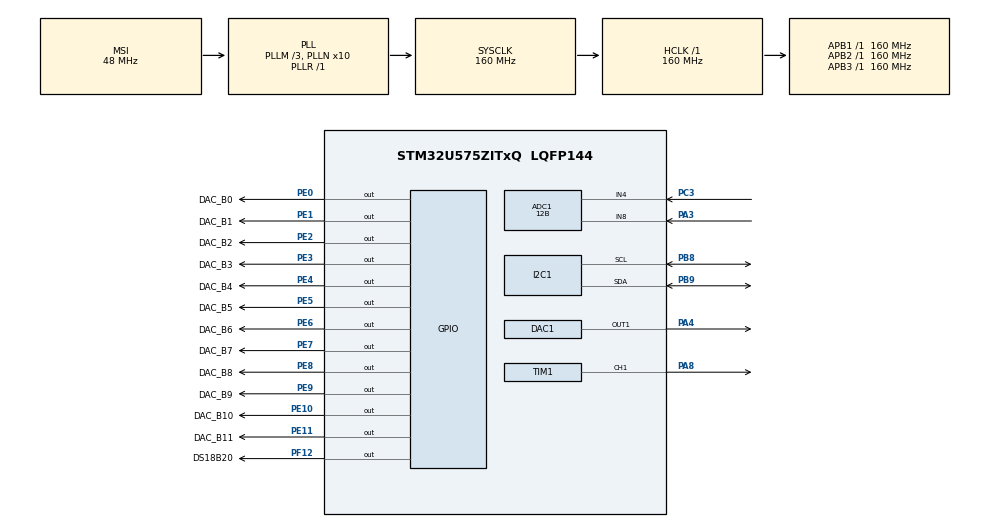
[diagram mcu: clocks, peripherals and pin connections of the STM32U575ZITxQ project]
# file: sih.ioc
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ADC1.Channel-0\#ChannelRegularConversion=ADC_CHANNEL_8
ADC1.Channel-1\#ChannelRegularConversion=ADC_CHANNEL_4
ADC1.EnableRegularConversion=ENABLE
ADC1.MonitoredBy-0\#ChannelRegularConversion=__NULL
ADC1.MonitoredBy-1\#ChannelRegularConversion=__NULL
ADC1.NbrOfConversion=2
ADC1.NbrOfConversionFlag=1
ADC1.OffsetNumber-0\#ChannelRegularConversion=ADC_OFFSET_NONE
ADC1.OffsetNumber-1\#ChannelRegularConversion=ADC_OFFSET_NONE
ADC1.Rank-0\#ChannelRegularConversion=1
ADC1.Rank-1\#ChannelRegularConversion=2
ADC1.Resolution=ADC_RESOLUTION_12B
ADC1.SamplingTime-0\#ChannelRegularConversion=ADC_SAMPLETIME_68CYCLES
ADC1.SamplingTime-1\#ChannelRegularConversion=ADC_SAMPLETIME_68CYCLES
ADC1.master=1
CORTEX_M33_NS.userName=CORTEX_M33
DAC1.DAC_Channel-DAC_OUT1=DAC_CHANNEL_1
DAC1.DAC_HighFrequency=DAC_HIGH_FREQUENCY_INTERFACE_MODE_ABOVE_80MHZ
DAC1.DAC_OutputBuffer_OUT1-DAC_OUT1=DAC_OUTPUTBUFFER_ENABLE
DAC1.DAC_Trigger-DAC_OUT1=DAC_TRIGGER_T6_TRGO
GPDMA1.DESTDATAWIDTH_GPDMACH0=DMA_DEST_DATAWIDTH_WORD
GPDMA1.DIRECTION_GPDMACH0=DMA_MEMORY_TO_PERIPH
GPDMA1.IPHANDLE_GPDMACH0-SIMPLEREQUEST_GPDMACH0=__NULL
GPDMA1.RECAP_GPDMACH0=DAC1_CH1 
GPDMA1.REQUEST_GPDMACH0=GPDMA1_REQUEST_DAC1_CH1
GPDMA1.SRCDATAWIDTH_GPDMACH0=DMA_SRC_DATAWIDTH_WORD
GPDMA1.SRCINC_GPDMACH0=DMA_SINC_INCREMENTED
I2C1.Timing=0x30909DEC
Mcu.Family=STM32U5
Mcu.Name=STM32U575ZITxQ
Mcu.Package=LQFP144
NUCLEO-U575ZI-Q.BUTTON=1
NUCLEO-U575ZI-Q.LD1=true
NUCLEO-U575ZI-Q.LD2=true
NUCLEO-U575ZI-Q.LD3=true
NUCLEO-U575ZI-Q.VCP=true
NVIC.EXTI13_IRQn=true\:0\:0\:false\:false\:true\:false\:true\:true
NVIC.GPDMA1_Channel0_IRQn=true\:0\:0\:false\:false\:true\:true\:true\:true
NVIC.PriorityGroup=NVIC_PRIORITYGROUP_3
NVIC.TIM17_IRQn=true\:7\:0\:false\:false\:true\:false\:true\:true
NVIC.TimeBase=TIM17_IRQn
NVIC.TimeBaseIP=TIM17
PA10.Signal=USART1_RX
PA13\ (JTMS/SWDIO).Signal=DEBUG_JTMS-SWDIO
PA14\ (JTCK/SWCLK).Signal=DEBUG_JTCK-SWCLK
PA3.Mode=IN8-Single-Ended
PA3.Signal=ADC1_IN8
PA4.Signal=COMP_DAC11_group
PA8.GPIO_Speed=GPIO_SPEED_FREQ_VERY_HIGH
PA8.Signal=S_TIM1_CH1
PA9.Signal=USART1_TX
PB3\ (JTDO/TRACESWO).Signal=DEBUG_JTDO-SWO
PB8.Mode=I2C
PB8.Signal=I2C1_SCL
PB9.Mode=I2C
PB9.Signal=I2C1_SDA
PC14-OSC32_IN\ (PC14).Signal=RCC_OSC32_IN
PC15-OSC32_OUT\ (PC15).Signal=RCC_OSC32_OUT
PC3.Mode=IN4-Single-Ended
PC3.Signal=ADC1_IN4
PE0.GPIO_Label=DAC_B0
PE0.GPIO_Speed=GPIO_SPEED_FREQ_VERY_HIGH
PE0.PinState=GPIO_PIN_RESET
PE0.Signal=GPIO_Output
PE1.GPIO_Label=DAC_B1
PE1.GPIO_Speed=GPIO_SPEED_FREQ_VERY_HIGH
PE1.PinState=GPIO_PIN_RESET
PE1.Signal=GPIO_Output
PE10.GPIO_Label=DAC_B10
PE10.GPIO_Speed=GPIO_SPEED_FREQ_VERY_HIGH
PE10.Signal=GPIO_Output
PE11.GPIO_Label=DAC_B11
PE11.GPIO_Speed=GPIO_SPEED_FREQ_VERY_HIGH
PE11.Signal=GPIO_Output
PE2.GPIO_Label=DAC_B2
PE2.GPIO_Speed=GPIO_SPEED_FREQ_VERY_HIGH
PE2.PinState=GPIO_PIN_RESET
PE2.Signal=GPIO_Output
PE3.GPIO_Label=DAC_B3
PE3.GPIO_Speed=GPIO_SPEED_FREQ_VERY_HIGH
PE3.PinState=GPIO_PIN_RESET
PE3.Signal=GPIO_Output
PE4.GPIO_Label=DAC_B4
PE4.GPIO_Speed=GPIO_SPEED_FREQ_VERY_HIGH
PE4.PinState=GPIO_PIN_RESET
PE4.Signal=GPIO_Output
PE5.GPIO_Label=DAC_B5
PE5.GPIO_Speed=GPIO_SPEED_FREQ_VERY_HIGH
PE5.PinState=GPIO_PIN_RESET
PE5.Signal=GPIO_Output
PE6.GPIO_Label=DAC_B6
PE6.GPIO_Speed=GPIO_SPEED_FREQ_VERY_HIGH
PE6.Signal=GPIO_Output
PE7.GPIO_Label=DAC_B7
PE7.GPIO_Speed=GPIO_SPEED_FREQ_VERY_HIGH
PE7.Signal=GPIO_Output
PE8.GPIO_Label=DAC_B8
PE8.GPIO_Speed=GPIO_SPEED_FREQ_VERY_HIGH
PE8.Signal=GPIO_Output
PE9.GPIO_Label=DAC_B9
PE9.GPIO_Speed=GPIO_SPEED_FREQ_VERY_HIGH
PE9.Signal=GPIO_Output
PF12.GPIO_Label=DS18B20
PF12.GPIO_ModeDefaultOutputPP=GPIO_MODE_OUTPUT_OD
PF12.GPIO_PuPd=GPIO_NOPULL
PF12.PinState=GPIO_PIN_SET
PF12.Signal=GPIO_Output
PWR.PowerMode=PWR_SMPS_SUPPLY
ProjectManager.HeapSize=0x200
ProjectManager.StackSize=0x400
ProjectManager.TargetToolchain=STM32CubeIDE
RCC.ADCFreq_Value=16000000
RCC.AHBFreq_Value=160000000
RCC.APB1Freq_Value=160000000
RCC.APB1TimFreq_Value=160000000
RCC.APB2Freq_Value=160000000
RCC.APB2TimFreq_Value=160000000
RCC.APB3Freq_Value=160000000
RCC.CortexFreq_Value=160000000
RCC.DACCLockSelectionVirtual=RCC_DAC1CLKSOURCE_LSI
RCC.EPOD_VALUE=48000000
RCC.HCLKFreq_Value=160000000
RCC.HSE_VALUE=16000000
RCC.HSI48_VALUE=48000000
RCC.HSI_VALUE=16000000
RCC.LSE_VALUE=32768
RCC.LSIDIV_VALUE=32000
RCC.MSIClockRange=RCC_MSIRANGE_0
RCC.MSI_VALUE=48000000
RCC.PLL1R=1
RCC.PLLFRACN=0
RCC.PLLM=3
RCC.PLLN=10
RCC.SYSCLKFreq_VALUE=160000000
RCC.SYSCLKSource=RCC_SYSCLKSOURCE_PLLCLK
RCC.USBFreq_Value=48000000
RCC.VCOOutputFreq_Value=160000000
SH.COMP_DAC11_group.0=DAC1_OUT1,DAC_OUT1
SH.S_TIM1_CH1.0=TIM1_CH1,PWM Generation1 CH1
TIM1.Channel-PWM\ Generation1\ CH1=TIM_CHANNEL_1
TIM1.PeriodNoDither=159
TIM1.PulseNoDither_1=80
TIM6.PeriodNoDither=159
TIM6.TIM_MasterOutputTrigger=TIM_TRGO_UPDATE
VP_GPDMA1_VS_GPDMACH0.Mode=SIMPLEREQUEST_GPDMACH0
VP_ICACHE_VS_ENABLE_ICACHE_MEMORY.Mode=Memoryregions
VP_ICACHE_VS_ICACHE.Mode=DirectMappedCache
VP_LPBAMQUEUE_VS_QUEUE.Mode=QUEUEMODE
VP_LPBAM_VS_SIG1.Mode=SmartRun
VP_LPBAM_VS_SIG4.Mode=LPDMA1
VP_MEMORYMAP_VS_MEMORYMAP.Mode=CurAppReg
VP_NUCLEO-U575ZI-Q_VS_BSP_COMMON.Mode=COMMON
VP_PWR_VS_DBSignals.Mode=DisableDeadBatterySignals
VP_PWR_VS_LPOM.Mode=PowerOptimisation
VP_PWR_VS_SECSignals.Mode=Security/Privilege
VP_PWR_Vdda.Mode=isolationVdda
VP_SYS_VS_tim17.Mode=TIM17
VP_TIM1_VS_ClockSourceINT.Mode=Internal
VP_TIM6_VS_ClockSourceINT.Mode=Enable_Timer
board=NUCLEO-U575ZI-Q

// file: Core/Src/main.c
/* USER CODE BEGIN Header */
/**
  ******************************************************************************
  * @file           : main.c
  * @brief          : Main program body
  ******************************************************************************
  * @attention
  *
  * Copyright (c) 2026 STMicroelectronics.
  * All rights reserved.
  *
  * This software is licensed under terms that can be found in the LICENSE file
  * in the root directory of this software component.
  * If no LICENSE file comes with this software, it is provided AS-IS.
  *
  ******************************************************************************
  */
/* USER CODE END Header */
#include "main.h"

/* USER CODE BEGIN Includes */
#include <math.h>
#include <stdio.h>
#include <stdlib.h>
/* USER CODE END Includes */

COM_InitTypeDef BspCOMInit;
ADC_HandleTypeDef hadc1;

DAC_HandleTypeDef hdac1;
DMA_HandleTypeDef handle_GPDMA1_Channel0;

I2C_HandleTypeDef hi2c1;

TIM_HandleTypeDef htim1;
TIM_HandleTypeDef htim6;

/* USER CODE BEGIN PV */
#define N          16000            // max pulse: 16 ms at 1 MSps
#define INA_ADDR   (0x40 << 1)      // INA219 I2C address
#define R_SHUNT    0.1f             // INA219 shunt (ohms)
#define BUDGET_mAh 2.0f             // demo battery budget
#define R_MAX_m    100.0f           // max sonar range -> listening window
#define USE_DIAL   1                // 1 = potentiometer scenario dial, 0 = real turbidity sensor
static uint32_t wave[N];
volatile uint8_t ping_done = 1;
volatile uint8_t mode = 0;          // 0-2 audible (LFM, GEO, BPSK), 3-5 ultrasonic (LFM, GEO, BPSK)
uint32_t turbidity = 0, tds = 0;
float temp_c = 25.0f;
float i_mA = 0.0f, v_bus = 0.0f, used_mAh = 0.0f;
uint8_t ina_ok = 0;
/* USER CODE END PV */

void SystemClock_Config(void);
static void SystemPower_Config(void);
static void MX_GPIO_Init(void);
static void MX_GPDMA1_Init(void);
static void MX_TIM1_Init(void);
static void MX_DAC1_Init(void);
static void MX_ICACHE_Init(void);
static void MX_TIM6_Init(void);
static void MX_ADC1_Init(void);
static void MX_I2C1_Init(void);

/* USER CODE BEGIN 0 */
/* ================= waveform engine ================= */
static float sample_rate(void)
{
  return 160000000.0f / (float)(TIM6->ARR + 1);
}

static float window(int i, int n, int tukey)            // Hann, or Tukey(0.2) for phase-coded
{
  if (!tukey) return 0.5f * (1.0f - cosf(2.0f * 3.14159265f * i / (n - 1)));
  float taper = 0.1f * (n - 1);
  if (i < taper)         return 0.5f * (1.0f - cosf(3.14159265f * i / taper));
  if (i > n - 1 - taper) return 0.5f * (1.0f - cosf(3.14159265f * (n - 1 - i) / taper));
  return 1.0f;
}

static void build_wave(int mod, float f0, float f1, float amp, uint32_t n)
{
  static const int8_t barker13[13] = { 1,1,1,1,1,-1,-1,1,1,-1,1,-1,1 };
  float fs = sample_rate(), T = n / fs;
  float lnK = logf(f1 / f0), fc = 0.5f * (f0 + f1);
  for (uint32_t i = 0; i < n; i++)
  {
    float t = i / fs, s, w;
    if (mod == 0)        // LFM chirp: frequency rises linearly
    { s = sinf(2.0f * 3.14159265f * (f0 * t + 0.5f * (f1 - f0) / T * t * t)); w = window(i, n, 0); }
    else if (mod == 1)   // geometric sweep: frequency rises by a constant ratio
    { s = sinf(2.0f * 3.14159265f * f0 * T / lnK * (expf(lnK * t / T) - 1.0f)); w = window(i, n, 0); }
    else                 // phase-coded: Barker-13 BPSK on the centre frequency
    { s = barker13[(i * 13) / n] * sinf(2.0f * 3.14159265f * fc * t); w = window(i, n, 1); }
    wave[i] = (uint32_t)(2048.0f + amp * w * s);
  }
}

static void fire_ping(uint32_t n)
{
  ping_done = 0;
  HAL_DAC_Start_DMA(&hdac1, DAC_CHANNEL_1, (uint32_t *)wave, n, DAC_ALIGN_12B_R);
}

/* ================= turbidity + TDS ================= */
static void read_sensors(void)
{
  HAL_ADC_Start(&hadc1);
  HAL_ADC_PollForConversion(&hadc1, 10);  turbidity = HAL_ADC_GetValue(&hadc1);
  HAL_ADC_PollForConversion(&hadc1, 10);  tds       = HAL_ADC_GetValue(&hadc1);
  HAL_ADC_Stop(&hadc1);
}

static float tds_ppm(uint32_t raw)
{
  float v = raw * 3.3f / 4095.0f;
  return (133.42f * v * v * v - 255.86f * v * v + 857.39f * v) * 0.5f;
}

static float sound_speed(float T, float S_ppt)          // speed of sound in water (m/s)
{
  return 1449.2f + 4.6f * T - 0.055f * T * T + 0.00029f * T * T * T
         + (1.34f - 0.01f * T) * (S_ppt - 35.0f);
}

/* ================= microsecond delay ================= */
static void dwt_init(void)
{
#ifdef DCB
  DCB->DEMCR |= DCB_DEMCR_TRCENA_Msk;
#else
  CoreDebug->DEMCR |= CoreDebug_DEMCR_TRCENA_Msk;
#endif
  DWT->CYCCNT = 0;
  DWT->CTRL  |= DWT_CTRL_CYCCNTENA_Msk;
}

static void delay_us(uint32_t us)
{
  uint32_t start = DWT->CYCCNT, ticks = us * (SystemCoreClock / 1000000U);
  while ((DWT->CYCCNT - start) < ticks) { }
}

/* ================= DS18B20 (1-Wire on PF12) ================= */
static inline void ow_low(void)     { DS18B20_GPIO_Port->BRR  = DS18B20_Pin; }
static inline void ow_release(void) { DS18B20_GPIO_Port->BSRR = DS18B20_Pin; }
static inline int  ow_level(void)   { return (DS18B20_GPIO_Port->IDR & DS18B20_Pin) ? 1 : 0; }

static int ow_reset(void)
{
  ow_low();     delay_us(480);
  ow_release(); delay_us(70);
  int present = !ow_level();
  delay_us(410);
  return present;
}

static void ow_write_bit(int b)
{
  __disable_irq();
  ow_low();
  if (b) { delay_us(6);  ow_release(); delay_us(64); }
  else   { delay_us(60); ow_release(); delay_us(10); }
  __enable_irq();
}

static int ow_read_bit(void)
{
  __disable_irq();
  ow_low(); delay_us(6);
  ow_release(); delay_us(9);
  int b = ow_level();
  delay_us(55);
  __enable_irq();
  return b;
}

static void ow_write_byte(uint8_t v) { for (int i = 0; i < 8; i++) { ow_write_bit(v & 1); v >>= 1; } }
static uint8_t ow_read_byte(void)    { uint8_t v = 0; for (int i = 0; i < 8; i++) v |= ow_read_bit() << i; return v; }

static void ds_start(void)
{
  if (ow_reset()) { ow_write_byte(0xCC); ow_write_byte(0x44); }
}

static int ds_read(float *t)
{
  if (!ow_reset()) return 0;
  ow_write_byte(0xCC); ow_write_byte(0xBE);
  uint8_t lo = ow_read_byte(), hi = ow_read_byte();
  *t = (int16_t)((hi << 8) | lo) / 16.0f;
  return 1;
}

/* ================= INA219 (I2C1) ================= */
static int ina_init(void)
{
  uint8_t cfg[2] = { 0x01, 0xFF };   // 16 V, +/-40 mV shunt, 12-bit, 128-sample average
  return HAL_I2C_Mem_Write(&hi2c1, INA_ADDR, 0x00, I2C_MEMADD_SIZE_8BIT, cfg, 2, 10) == HAL_OK;
}

static int ina_read(float *mA, float *V)
{
  uint8_t b[2];
  if (HAL_I2C_Mem_Read(&hi2c1, INA_ADDR, 0x01, I2C_MEMADD_SIZE_8BIT, b, 2, 10) != HAL_OK) return 0;
  *mA = fabsf((int16_t)((b[0] << 8) | b[1]) * 0.01f / R_SHUNT);
  if (HAL_I2C_Mem_Read(&hi2c1, INA_ADDR, 0x02, I2C_MEMADD_SIZE_8BIT, b, 2, 10) != HAL_OK) return 0;
  *V = (((b[0] << 8) | b[1]) >> 3) * 0.004f;
  return 1;
}
/* USER CODE END 0 */

int main(void)
{

  /* MCU Configuration--------------------------------------------------------*/

  /* Reset of all peripherals, Initializes the Flash interface and the Systick. */
  HAL_Init();

  /* Configure the System Power */
  SystemPower_Config();

  /* Configure the system clock */
  SystemClock_Config();

  /* Initialize all configured peripherals */
  MX_GPIO_Init();
  MX_GPDMA1_Init();
  MX_TIM1_Init();
  MX_DAC1_Init();
  MX_ICACHE_Init();
  MX_TIM6_Init();
  MX_ADC1_Init();
  MX_I2C1_Init();
  /* USER CODE BEGIN 2 */
  HAL_ADCEx_Calibration_Start(&hadc1, ADC_CALIB_OFFSET, ADC_SINGLE_ENDED);
  HAL_TIM_Base_Start(&htim6);                                        // 1 MSps trigger
  HAL_DAC_Start(&hdac1, DAC_CHANNEL_1);
  HAL_DAC_SetValue(&hdac1, DAC_CHANNEL_1, DAC_ALIGN_12B_R, 2048);    // idle at mid-scale
  dwt_init();
  ina_ok = ina_init();
  ds_start();
  /* USER CODE END 2 */

  /* Initialize leds */
  BSP_LED_Init(LED_GREEN);
  BSP_LED_Init(LED_BLUE);
  BSP_LED_Init(LED_RED);

  /* Initialize USER push-button, will be used to trigger an interrupt each time it's pressed.*/
  BSP_PB_Init(BUTTON_USER, BUTTON_MODE_EXTI);

  /* Initialize COM1 port (115200, 8 bits (7-bit data + 1 stop bit), no parity */
  BspCOMInit.BaudRate   = 115200;
  BspCOMInit.WordLength = COM_WORDLENGTH_8B;
  BspCOMInit.StopBits   = COM_STOPBITS_1;
  BspCOMInit.Parity     = COM_PARITY_NONE;
  BspCOMInit.HwFlowCtl  = COM_HWCONTROL_NONE;
  if (BSP_COM_Init(COM1, &BspCOMInit) != BSP_ERROR_NONE)
  {
    Error_Handler();
  }

  /* Infinite loop */
  while (1)
  {

	    /* USER CODE BEGIN 3 */
	    static const char *mod_name[3] = { "LFM ", "GEO ", "BPSK" };
	    static uint32_t t_avg = 0, d_avg = 0, ds_tick = 0, last_tick = 0;
	    GPIOE->BSRR = GPIO_PIN_0;                    // CPU-busy pin PE0 HIGH = CPU working
	    uint32_t now = HAL_GetTick();

	    /* ---- sensors ---- */
	    read_sensors();
	    t_avg = (t_avg * 3 + turbidity) / 4;
	    d_avg = (d_avg * 3 + tds) / 4;
	    if (now - ds_tick >= 800)
	    {
	      float t;
	      if (ds_read(&t) && t > -40.0f && t < 85.0f) temp_c = t;
	      ds_start();  ds_tick = now;
	    }

	    /* ---- turbidity calibration ---- */
	#if USE_DIAL
	    const float T_MUDDY = 200.0f;                // potentiometer: knob fully one way
	    const float T_CLEAR = 3900.0f;               // potentiometer: knob fully the other way
	#else
	    const float T_MUDDY = 750.0f;                // stirred muddy water (submerged)
	    static float T_CLEAR = 1150.0f;              // replaced by auto-calibration below
	    static float cal_sum = 0.0f;
	    static int   cal_n   = 0;
	    if (cal_n < 8)                               // first ~2 s after RESET: learn "clear water"
	    {
	      cal_sum += turbidity;
	      cal_n++;
	      if (cal_n == 8)
	      {
	        T_CLEAR = (cal_sum / 8.0f) * 0.95f;      // 5% margin below the clear reading
	        if (T_CLEAR < T_MUDDY + 150.0f) T_CLEAR = T_MUDDY + 150.0f;   // safety
	      }
	    }
	#endif

	    /* ---- power + battery budget ---- */
	    if (ina_ok) ina_read(&i_mA, &v_bus);
	    uint32_t dt = now - last_tick;  last_tick = now;
	    if (dt < 5000) used_mAh += i_mA * dt / 3600000.0f;
	    float remain = 1.0f - used_mAh / BUDGET_mAh;  if (remain < 0.0f) remain = 0.0f;
	    float e_mJ = i_mA * v_bus * dt / 1000.0f;
	    float factor = 1.0f, amp_scale = 1.0f, dur_scale = 1.0f;  const char *pw = "NORMAL ";
	    if      (remain < 0.2f) { factor = 4.0f; amp_scale = 0.6f; dur_scale = 0.5f;  pw = "SURVIVE"; }
	    else if (remain < 0.5f) { factor = 2.0f; amp_scale = 0.8f; dur_scale = 0.75f; pw = "ECONOMY"; }

	    /* ---- water physics ---- */
	    float ppm = tds_ppm(d_avg);
	    float c = sound_speed(temp_c, ppm / 1000.0f);
	    float listen_ms = 2.0f * R_MAX_m / c * 1000.0f;

	    /* ---- adaptation of the 3 wave parameters ---- */
	    int band = mode / 3, mod = mode % 3;
	    float t_norm = (t_avg - T_MUDDY) / (T_CLEAR - T_MUDDY);    // 0 = muddy, 1 = clear
	    if (t_norm < 0.0f) t_norm = 0.0f;
	    if (t_norm > 1.0f) t_norm = 1.0f;

	    float f0, f_hi;                                             // 1) BANDWIDTH / CENTRE FREQ
	    if (band == 0) { f0 = 2000.0f;   f_hi = 5000.0f   + t_norm * 12000.0f;  }   // 5-17 kHz
	    else           { f0 = 100000.0f; f_hi = 120000.0f + t_norm * 130000.0f; }   // 120-250 kHz
	    float f_max = 0.25f * sample_rate();  if (f_hi > f_max) f_hi = f_max;

	    float dur_ms = (4.0f + (1.0f - t_norm) * 12.0f) * dur_scale;               // 2) PULSE DURATION
	    uint32_t n = (uint32_t)(dur_ms * sample_rate() / 1000.0f);  if (n > N) n = N;

	    float amp = 1200.0f + d_avg * 0.2f;                                         // 3) AMPLITUDE
	    if (amp > 1800.0f) amp = 1800.0f;
	    amp *= amp_scale;

	    build_wave(mod, f0, f_hi, amp, n);

	    /* ---- report ---- */
	    char msg[240];
	    int len = snprintf(msg, sizeof msg,
	      "%s-%s T=%d.%dC c=%lu clarity=%lu (clear=%lu) tds=%luppm f=%lu-%luHz dur=%lums amp=%lu | I=%lu.%02lumA E=%lu.%lumJ batt=%lu%% %s\r\n",
	      band ? "US " : "AUD", mod_name[mod], (int)temp_c, abs((int)(temp_c * 10)) % 10, (uint32_t)c,
	      t_avg, (uint32_t)T_CLEAR, (uint32_t)ppm, (uint32_t)f0, (uint32_t)f_hi, (uint32_t)dur_ms, (uint32_t)amp,
	      (uint32_t)i_mA, (uint32_t)(i_mA * 100) % 100, (uint32_t)e_mJ, (uint32_t)(e_mJ * 10) % 10,
	      (uint32_t)(remain * 100), pw);
	    HAL_UART_Transmit(&hcom_uart[COM1], (uint8_t *)msg, len, 50);

	    /* ---- transmit: DMA streams the ping, CPU sleeps ---- */
	    fire_ping(n);
	    BSP_LED_Toggle(LED_GREEN);
	    uint32_t t0 = HAL_GetTick();
	    GPIOE->BRR = GPIO_PIN_0;                     // CPU-busy pin LOW = CPU asleep
	    while (!ping_done && (HAL_GetTick() - t0) < 1000) { __WFI(); }
	    GPIOE->BSRR = GPIO_PIN_0;
	    if (!ping_done) BSP_LED_On(LED_RED);

	    HAL_DAC_Stop_DMA(&hdac1, DAC_CHANNEL_1);
	    HAL_DAC_Start(&hdac1, DAC_CHANNEL_1);
	    HAL_DAC_SetValue(&hdac1, DAC_CHANNEL_1, DAC_ALIGN_12B_R, 2048);   // park at mid-scale

	    /* ---- listen window (longer when the battery budget is low) ---- */
	    GPIOE->BRR = GPIO_PIN_0;
	    HAL_Delay((uint32_t)(listen_ms * factor));
	  }
	  /* USER CODE END 3 */
}

void SystemClock_Config(void)
{
  RCC_OscInitTypeDef RCC_OscInitStruct = {0};
  RCC_ClkInitTypeDef RCC_ClkInitStruct = {0};

  /** Configure the main internal regulator output voltage
  */
  if (HAL_PWREx_ControlVoltageScaling(PWR_REGULATOR_VOLTAGE_SCALE1) != HAL_OK)
  {
    Error_Handler();
  }

  /** Initializes the CPU, AHB and APB buses clocks
  */
  RCC_OscInitStruct.OscillatorType = RCC_OSCILLATORTYPE_HSI|RCC_OSCILLATORTYPE_LSI
                              |RCC_OSCILLATORTYPE_MSI;
  RCC_OscInitStruct.HSIState = RCC_HSI_ON;
  RCC_OscInitStruct.HSICalibrationValue = RCC_HSICALIBRATION_DEFAULT;
  RCC_OscInitStruct.LSIState = RCC_LSI_ON;
  RCC_OscInitStruct.MSIState = RCC_MSI_ON;
  RCC_OscInitStruct.MSICalibrationValue = RCC_MSICALIBRATION_DEFAULT;
  RCC_OscInitStruct.MSIClockRange = RCC_MSIRANGE_0;
  RCC_OscInitStruct.LSIDiv = RCC_LSI_DIV1;
  RCC_OscInitStruct.PLL.PLLState = RCC_PLL_ON;
  RCC_OscInitStruct.PLL.PLLSource = RCC_PLLSOURCE_MSI;
  RCC_OscInitStruct.PLL.PLLMBOOST = RCC_PLLMBOOST_DIV4;
  RCC_OscInitStruct.PLL.PLLM = 3;
  RCC_OscInitStruct.PLL.PLLN = 10;
  RCC_OscInitStruct.PLL.PLLP = 2;
  RCC_OscInitStruct.PLL.PLLQ = 2;
  RCC_OscInitStruct.PLL.PLLR = 1;
  RCC_OscInitStruct.PLL.PLLRGE = RCC_PLLVCIRANGE_1;
  RCC_OscInitStruct.PLL.PLLFRACN = 0;
  if (HAL_RCC_OscConfig(&RCC_OscInitStruct) != HAL_OK)
  {
    Error_Handler();
  }

  /** Initializes the CPU, AHB and APB buses clocks
  */
  RCC_ClkInitStruct.ClockType = RCC_CLOCKTYPE_HCLK|RCC_CLOCKTYPE_SYSCLK
                              |RCC_CLOCKTYPE_PCLK1|RCC_CLOCKTYPE_PCLK2
                              |RCC_CLOCKTYPE_PCLK3;
  RCC_ClkInitStruct.SYSCLKSource = RCC_SYSCLKSOURCE_PLLCLK;
  RCC_ClkInitStruct.AHBCLKDivider = RCC_SYSCLK_DIV1;
  RCC_ClkInitStruct.APB1CLKDivider = RCC_HCLK_DIV1;
  RCC_ClkInitStruct.APB2CLKDivider = RCC_HCLK_DIV1;
  RCC_ClkInitStruct.APB3CLKDivider = RCC_HCLK_DIV1;

  if (HAL_RCC_ClockConfig(&RCC_ClkInitStruct, FLASH_LATENCY_4) != HAL_OK)
  {
    Error_Handler();
  }
}

/**
  * @brief Power Configuration
  * @retval None
  */
static void SystemPower_Config(void)
{

  /*
   * Disable the internal Pull-Up in Dead Battery pins of UCPD peripheral
   */
  HAL_PWREx_DisableUCPDDeadBattery();

  /*
   * Switch to SMPS regulator instead of LDO
   */
  if (HAL_PWREx_ConfigSupply(PWR_SMPS_SUPPLY) != HAL_OK)
  {
    Error_Handler();
  }
}

static void MX_ADC1_Init(void)
{

  ADC_ChannelConfTypeDef sConfig = {0};

  /** Common config
  */
  hadc1.Instance = ADC1;
  hadc1.Init.ClockPrescaler = ADC_CLOCK_ASYNC_DIV1;
  hadc1.Init.Resolution = ADC_RESOLUTION_12B;
  hadc1.Init.GainCompensation = 0;
  hadc1.Init.ScanConvMode = ADC_SCAN_ENABLE;
  hadc1.Init.EOCSelection = ADC_EOC_SINGLE_CONV;
  hadc1.Init.LowPowerAutoWait = DISABLE;
  hadc1.Init.ContinuousConvMode = DISABLE;
  hadc1.Init.NbrOfConversion = 2;
  hadc1.Init.DiscontinuousConvMode = DISABLE;
  hadc1.Init.ExternalTrigConv = ADC_SOFTWARE_START;
  hadc1.Init.ExternalTrigConvEdge = ADC_EXTERNALTRIGCONVEDGE_NONE;
  hadc1.Init.DMAContinuousRequests = DISABLE;
  hadc1.Init.TriggerFrequencyMode = ADC_TRIGGER_FREQ_HIGH;
  hadc1.Init.Overrun = ADC_OVR_DATA_PRESERVED;
  hadc1.Init.LeftBitShift = ADC_LEFTBITSHIFT_NONE;
  hadc1.Init.ConversionDataManagement = ADC_CONVERSIONDATA_DR;
  hadc1.Init.OversamplingMode = DISABLE;
  if (HAL_ADC_Init(&hadc1) != HAL_OK)
  {
    Error_Handler();
  }

  /** Configure Regular Channel
  */
  sConfig.Channel = ADC_CHANNEL_8;
  sConfig.Rank = ADC_REGULAR_RANK_1;
  sConfig.SamplingTime = ADC_SAMPLETIME_68CYCLES;
  sConfig.SingleDiff = ADC_SINGLE_ENDED;
  sConfig.OffsetNumber = ADC_OFFSET_NONE;
  sConfig.Offset = 0;
  if (HAL_ADC_ConfigChannel(&hadc1, &sConfig) != HAL_OK)
  {
    Error_Handler();
  }

  /** Configure Regular Channel
  */
  sConfig.Channel = ADC_CHANNEL_4;
  sConfig.Rank = ADC_REGULAR_RANK_2;
  if (HAL_ADC_ConfigChannel(&hadc1, &sConfig) != HAL_OK)
  {
    Error_Handler();
  }

}

static void MX_DAC1_Init(void)
{

  DAC_ChannelConfTypeDef sConfig = {0};
  DAC_AutonomousModeConfTypeDef sAutonomousMode = {0};

  /** DAC Initialization
  */
  hdac1.Instance = DAC1;
  if (HAL_DAC_Init(&hdac1) != HAL_OK)
  {
    Error_Handler();
  }

  /** DAC channel OUT1 config
  */
  sConfig.DAC_HighFrequency = DAC_HIGH_FREQUENCY_INTERFACE_MODE_ABOVE_80MHZ;
  sConfig.DAC_DMADoubleDataMode = DISABLE;
  sConfig.DAC_SignedFormat = DISABLE;
  sConfig.DAC_SampleAndHold = DAC_SAMPLEANDHOLD_DISABLE;
  sConfig.DAC_Trigger = DAC_TRIGGER_T6_TRGO;
  sConfig.DAC_OutputBuffer = DAC_OUTPUTBUFFER_ENABLE;
  sConfig.DAC_ConnectOnChipPeripheral = DAC_CHIPCONNECT_EXTERNAL;
  sConfig.DAC_UserTrimming = DAC_TRIMMING_FACTORY;
  if (HAL_DAC_ConfigChannel(&hdac1, &sConfig, DAC_CHANNEL_1) != HAL_OK)
  {
    Error_Handler();
  }

  /** Configure Autonomous Mode
  */
  sAutonomousMode.AutonomousModeState = DAC_AUTONOMOUS_MODE_DISABLE;
  if (HAL_DACEx_SetConfigAutonomousMode(&hdac1, &sAutonomousMode) != HAL_OK)
  {
    Error_Handler();
  }

}

static void MX_GPDMA1_Init(void)
{

  /* Peripheral clock enable */
  __HAL_RCC_GPDMA1_CLK_ENABLE();

  /* GPDMA1 interrupt Init */
    HAL_NVIC_SetPriority(GPDMA1_Channel0_IRQn, 0, 0);
    HAL_NVIC_EnableIRQ(GPDMA1_Channel0_IRQn);

}

static void MX_I2C1_Init(void)
{

  hi2c1.Instance = I2C1;
  hi2c1.Init.Timing = 0x30909DEC;
  hi2c1.Init.OwnAddress1 = 0;
  hi2c1.Init.AddressingMode = I2C_ADDRESSINGMODE_7BIT;
  hi2c1.Init.DualAddressMode = I2C_DUALADDRESS_DISABLE;
  hi2c1.Init.OwnAddress2 = 0;
  hi2c1.Init.OwnAddress2Masks = I2C_OA2_NOMASK;
  hi2c1.Init.GeneralCallMode = I2C_GENERALCALL_DISABLE;
  hi2c1.Init.NoStretchMode = I2C_NOSTRETCH_DISABLE;
  if (HAL_I2C_Init(&hi2c1) != HAL_OK)
  {
    Error_Handler();
  }

  /** Configure Analogue filter
  */
  if (HAL_I2CEx_ConfigAnalogFilter(&hi2c1, I2C_ANALOGFILTER_ENABLE) != HAL_OK)
  {
    Error_Handler();
  }

  /** Configure Digital filter
  */
  if (HAL_I2CEx_ConfigDigitalFilter(&hi2c1, 0) != HAL_OK)
  {
    Error_Handler();
  }

}

static void MX_ICACHE_Init(void)
{

  /** Enable instruction cache in 1-way (direct mapped cache)
  */
  if (HAL_ICACHE_ConfigAssociativityMode(ICACHE_1WAY) != HAL_OK)
  {
    Error_Handler();
  }
  if (HAL_ICACHE_Enable() != HAL_OK)
  {
    Error_Handler();
  }

}

static void MX_TIM1_Init(void)
{

  TIM_ClockConfigTypeDef sClockSourceConfig = {0};
  TIM_MasterConfigTypeDef sMasterConfig = {0};
  TIM_OC_InitTypeDef sConfigOC = {0};
  TIM_BreakDeadTimeConfigTypeDef sBreakDeadTimeConfig = {0};

  htim1.Instance = TIM1;
  htim1.Init.Prescaler = 0;
  htim1.Init.CounterMode = TIM_COUNTERMODE_UP;
  htim1.Init.Period = 159;
  htim1.Init.ClockDivision = TIM_CLOCKDIVISION_DIV1;
  htim1.Init.RepetitionCounter = 0;
  htim1.Init.AutoReloadPreload = TIM_AUTORELOAD_PRELOAD_DISABLE;
  if (HAL_TIM_Base_Init(&htim1) != HAL_OK)
  {
    Error_Handler();
  }
  sClockSourceConfig.ClockSource = TIM_CLOCKSOURCE_INTERNAL;
  if (HAL_TIM_ConfigClockSource(&htim1, &sClockSourceConfig) != HAL_OK)
  {
    Error_Handler();
  }
  if (HAL_TIM_PWM_Init(&htim1) != HAL_OK)
  {
    Error_Handler();
  }
  sMasterConfig.MasterOutputTrigger = TIM_TRGO_RESET;
  sMasterConfig.MasterOutputTrigger2 = TIM_TRGO2_RESET;
  sMasterConfig.MasterSlaveMode = TIM_MASTERSLAVEMODE_DISABLE;
  if (HAL_TIMEx_MasterConfigSynchronization(&htim1, &sMasterConfig) != HAL_OK)
  {
    Error_Handler();
  }
  sConfigOC.OCMode = TIM_OCMODE_PWM1;
  sConfigOC.Pulse = 80;
  sConfigOC.OCPolarity = TIM_OCPOLARITY_HIGH;
  sConfigOC.OCNPolarity = TIM_OCNPOLARITY_HIGH;
  sConfigOC.OCFastMode = TIM_OCFAST_DISABLE;
  sConfigOC.OCIdleState = TIM_OCIDLESTATE_RESET;
  sConfigOC.OCNIdleState = TIM_OCNIDLESTATE_RESET;
  if (HAL_TIM_PWM_ConfigChannel(&htim1, &sConfigOC, TIM_CHANNEL_1) != HAL_OK)
  {
    Error_Handler();
  }
  sBreakDeadTimeConfig.OffStateRunMode = TIM_OSSR_DISABLE;
  sBreakDeadTimeConfig.OffStateIDLEMode = TIM_OSSI_DISABLE;
  sBreakDeadTimeConfig.LockLevel = TIM_LOCKLEVEL_OFF;
  sBreakDeadTimeConfig.DeadTime = 0;
  sBreakDeadTimeConfig.BreakState = TIM_BREAK_DISABLE;
  sBreakDeadTimeConfig.BreakPolarity = TIM_BREAKPOLARITY_HIGH;
  sBreakDeadTimeConfig.BreakFilter = 0;
  sBreakDeadTimeConfig.BreakAFMode = TIM_BREAK_AFMODE_INPUT;
  sBreakDeadTimeConfig.Break2State = TIM_BREAK2_DISABLE;
  sBreakDeadTimeConfig.Break2Polarity = TIM_BREAK2POLARITY_HIGH;
  sBreakDeadTimeConfig.Break2Filter = 0;
  sBreakDeadTimeConfig.Break2AFMode = TIM_BREAK_AFMODE_INPUT;
  sBreakDeadTimeConfig.AutomaticOutput = TIM_AUTOMATICOUTPUT_DISABLE;
  if (HAL_TIMEx_ConfigBreakDeadTime(&htim1, &sBreakDeadTimeConfig) != HAL_OK)
  {
    Error_Handler();
  }
  HAL_TIM_MspPostInit(&htim1);

}

static void MX_TIM6_Init(void)
{

  TIM_MasterConfigTypeDef sMasterConfig = {0};

  htim6.Instance = TIM6;
  htim6.Init.Prescaler = 0;
  htim6.Init.CounterMode = TIM_COUNTERMODE_UP;
  htim6.Init.Period = 159;
  htim6.Init.AutoReloadPreload = TIM_AUTORELOAD_PRELOAD_DISABLE;
  if (HAL_TIM_Base_Init(&htim6) != HAL_OK)
  {
    Error_Handler();
  }
  sMasterConfig.MasterOutputTrigger = TIM_TRGO_UPDATE;
  sMasterConfig.MasterSlaveMode = TIM_MASTERSLAVEMODE_DISABLE;
  if (HAL_TIMEx_MasterConfigSynchronization(&htim6, &sMasterConfig) != HAL_OK)
  {
    Error_Handler();
  }

}

static void MX_GPIO_Init(void)
{
  GPIO_InitTypeDef GPIO_InitStruct = {0};

  /* GPIO Ports Clock Enable */
  __HAL_RCC_GPIOE_CLK_ENABLE();
  __HAL_RCC_GPIOC_CLK_ENABLE();
  __HAL_RCC_GPIOA_CLK_ENABLE();
  __HAL_RCC_GPIOF_CLK_ENABLE();
  __HAL_RCC_GPIOB_CLK_ENABLE();

  /*Configure GPIO pin Output Level */
  HAL_GPIO_WritePin(GPIOE, DAC_B2_Pin|DAC_B3_Pin|DAC_B4_Pin|DAC_B5_Pin
                          |DAC_B6_Pin|DAC_B7_Pin|DAC_B8_Pin|DAC_B9_Pin
                          |DAC_B10_Pin|DAC_B11_Pin|DAC_B0_Pin|DAC_B1_Pin, GPIO_PIN_RESET);

  /*Configure GPIO pin Output Level */
  HAL_GPIO_WritePin(DS18B20_GPIO_Port, DS18B20_Pin, GPIO_PIN_SET);

  /*Configure GPIO pins : DAC_B2_Pin DAC_B3_Pin DAC_B4_Pin DAC_B5_Pin
                           DAC_B6_Pin DAC_B7_Pin DAC_B8_Pin DAC_B9_Pin
                           DAC_B10_Pin DAC_B11_Pin DAC_B0_Pin DAC_B1_Pin */
  GPIO_InitStruct.Pin = DAC_B2_Pin|DAC_B3_Pin|DAC_B4_Pin|DAC_B5_Pin
                          |DAC_B6_Pin|DAC_B7_Pin|DAC_B8_Pin|DAC_B9_Pin
                          |DAC_B10_Pin|DAC_B11_Pin|DAC_B0_Pin|DAC_B1_Pin;
  GPIO_InitStruct.Mode = GPIO_MODE_OUTPUT_PP;
  GPIO_InitStruct.Pull = GPIO_NOPULL;
  GPIO_InitStruct.Speed = GPIO_SPEED_FREQ_VERY_HIGH;
  HAL_GPIO_Init(GPIOE, &GPIO_InitStruct);

  /*Configure GPIO pin : DS18B20_Pin */
  GPIO_InitStruct.Pin = DS18B20_Pin;
  GPIO_InitStruct.Mode = GPIO_MODE_OUTPUT_OD;
  GPIO_InitStruct.Pull = GPIO_NOPULL;
  GPIO_InitStruct.Speed = GPIO_SPEED_FREQ_LOW;
  HAL_GPIO_Init(DS18B20_GPIO_Port, &GPIO_InitStruct);

}

/* USER CODE BEGIN 4 */
void HAL_DAC_ConvCpltCallbackCh1(DAC_HandleTypeDef *hdac)
{
  ping_done = 1;
}

void BSP_PB_Callback(Button_TypeDef Button)          // blue USER button cycles 6 modes
{
  mode = (mode + 1) % 6;
  if (mode < 3) BSP_LED_Off(LED_BLUE); else BSP_LED_On(LED_BLUE);   // BLUE = ultrasonic
}
/* USER CODE END 4 */

void HAL_TIM_PeriodElapsedCallback(TIM_HandleTypeDef *htim)
{
  if (htim->Instance == TIM17)
  {
    HAL_IncTick();
  }
}

void Error_Handler(void)
{
  /* USER CODE BEGIN Error_Handler_Debug */
  BSP_LED_Init(LED_BLUE);
  BSP_LED_On(LED_BLUE);                      // BLUE steady from start = setup failed
  __disable_irq();
  while (1)
  {
  }
  /* USER CODE END Error_Handler_Debug */
}
